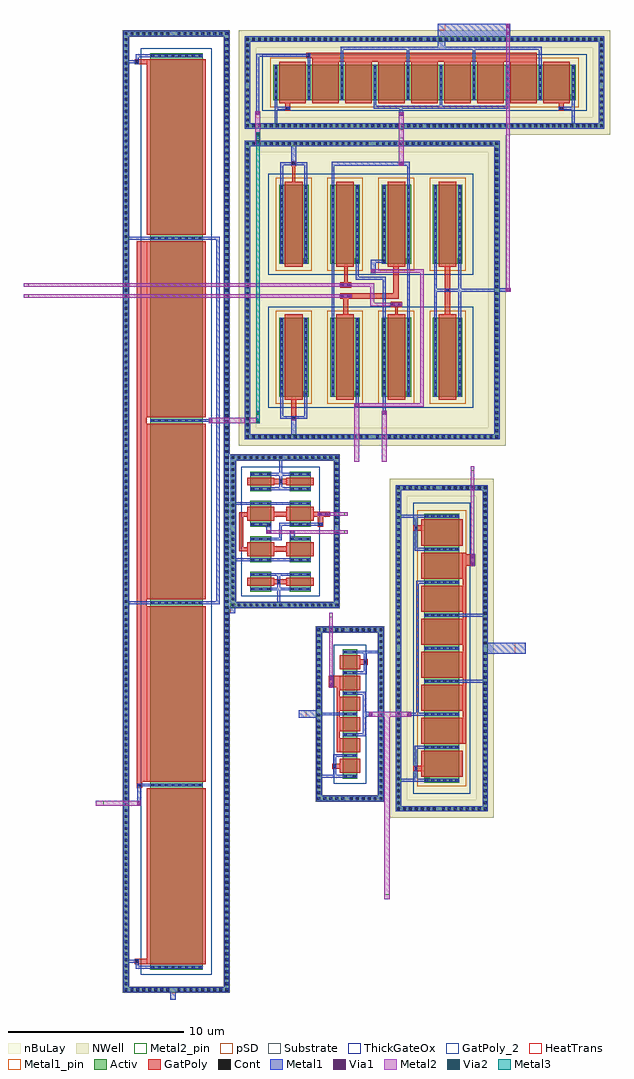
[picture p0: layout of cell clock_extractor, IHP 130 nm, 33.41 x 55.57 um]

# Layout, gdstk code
from math import pi, radians
import gdstk
lib = gdstk.Library(unit=1e-6, precision=5e-09)
def R(c, l, rs):  # rectangles x0, y0, x1, y1
    for r in rs: c.add(gdstk.rectangle(r[:2], r[2:], *l))
def A(c, l, x, y, w, h, nx, ny, dx, dy):  # array of equal rectangles
    R(c, l, [(x+i*dx, y+j*dy, x+i*dx+w, y+j*dy+h) for i in range(nx) for j in range(ny)])
def P(c, l, *ps):  # polygons
    for p in ps: c.add(gdstk.Polygon(p, *l))
Activ = (1, 0)
GatPoly = (5, 0)
GatPoly_2 = (5, 2)
Cont = (6, 0)
Metal1 = (8, 0)
Metal1_pin = (8, 2)
Metal2 = (10, 0)
Metal2_pin = (10, 2)
pSD = (14, 0)
Via1 = (19, 0)
Via2 = (29, 0)
Metal3 = (30, 0)
NWell = (31, 0)
nBuLay = (32, 0)
Substrate = (40, 0)
ThickGateOx = (44, 0)
HeatTrans = (51, 0)

via_stack_5 = lib.new_cell('via_stack$5')
R(via_stack_5, GatPoly, [(-0.15,-0.15,0.15,0.15)])
R(via_stack_5, Cont, [(-0.08,-0.08,0.08,0.08)])
R(via_stack_5, Metal1, [(-0.13,-0.08,0.13,0.08)])

nmoshv = lib.new_cell('nmosHV')
A(nmoshv, Activ, 0, 0, 0.3, 0.3, 6, 1, 10.38, 0)
R(nmoshv, Activ, [(-1.27,-1.22,-0.97,4.22), (53.17,-1.22,53.47,4.22), (0,0,52.2,3), (-1.27,4.22,53.47,4.52)])
P(nmoshv, Activ, [(-1.27,-1.52),(-1.27,4.22),(-0.97,4.22),(-0.97,-1.22),(53.17,-1.22),(53.17,4.22),(-1.27,4.22),(-1.27,4.52),(53.47,4.52),(53.47,-1.52)])
A(nmoshv, GatPoly, 0.34, -0.18, 10, 3.36, 5, 1, 10.38, 0)
R(nmoshv, GatPoly_2, [(0.34,-0.18,10.34,3.18)])
A(nmoshv, Cont, -1.2, -1.45, 0.16, 0.16, 80, 2, 0.34, 5.74)
A(nmoshv, Cont, 26.04, -1.45, 0.16, 0.16, 81, 2, 0.34, 5.74)
A(nmoshv, Cont, -1.2, -1.11, 0.16, 0.16, 1, 7, 0, 0.34)
A(nmoshv, Cont, 53.24, -1.11, 0.16, 0.16, 1, 7, 0, 0.34)
A(nmoshv, Cont, 0.07, 0.07, 0.16, 0.16, 6, 7, 10.38, 0.385)
A(nmoshv, Cont, -1.2, 1.57, 0.16, 0.16, 1, 8, 0, 0.34)
A(nmoshv, Cont, 53.24, 1.57, 0.16, 0.16, 1, 8, 0, 0.34)
A(nmoshv, Cont, 0.07, 2.77, 0.16, 0.16, 6, 1, 10.38, 0)
A(nmoshv, Metal1, 0.07, 0, 0.16, 3, 6, 1, 10.38, 0)
R(nmoshv, Metal1, [(-1.27,-1.52,53.47,-1.22), (-1.27,-1.22,-0.97,4.22), (53.17,-1.22,53.47,4.22), (-1.27,4.22,53.47,4.52)])
R(nmoshv, Metal1_pin, [(0.07,0,0.23,3), (10.45,0,10.61,3)])
R(nmoshv, pSD, [(-1.3,-1.19,-0.94,4.19), (53.14,-1.19,53.5,4.19), (-1.3,4.19,53.5,4.55)])
P(nmoshv, pSD, [(-1.3,-1.55),(-1.3,4.19),(-0.94,4.19),(-0.94,-1.19),(53.14,-1.19),(53.14,4.19),(-1.3,4.19),(-1.3,4.55),(53.5,4.55),(53.5,-1.55)])
R(nmoshv, Substrate, [(-1.3,-1.19,-0.94,4.19), (53.14,-1.19,53.5,4.19), (-1.3,4.19,53.5,4.55)])
P(nmoshv, Substrate, [(-1.3,-1.55),(-1.3,4.19),(-0.94,4.19),(-0.94,-1.19),(53.14,-1.19),(53.14,4.19),(-1.3,4.19),(-1.3,4.55),(53.5,4.55),(53.5,-1.55)])
R(nmoshv, ThickGateOx, [(-0.27,-0.52,52.47,3.52)])
A(nmoshv, HeatTrans, 0.34, -0.18, 10, 3.36, 5, 1, 10.38, 0)
nmoshv.add(gdstk.Label('nmosHV', (5.34,1.5), layer=63, texttype=0))
nmoshv.add(gdstk.Label('sub!', (26.1,-1.37), layer=63, texttype=0))
nmoshv.add(gdstk.Label('nmosHV', (5.34,1.5), layer=51, texttype=0))
nmoshv.add(gdstk.Label('nmosHV', (15.72,1.5), layer=51, texttype=0))
nmoshv.add(gdstk.Label('nmosHV', (26.1,1.5), layer=51, texttype=0))
nmoshv.add(gdstk.Label('nmosHV', (36.48,1.5), layer=51, texttype=0))
nmoshv.add(gdstk.Label('nmosHV', (46.86,1.5), layer=51, texttype=0))

via_stack = lib.new_cell('via_stack')
R(via_stack, Metal1, [(-0.145,-0.105,0.145,0.105)])
R(via_stack, Metal2, [(-0.145,-0.1,0.145,0.1)])
R(via_stack, Via1, [(-0.095,-0.095,0.095,0.095)])

current_mirror2 = lib.new_cell('current_mirror2')
R(current_mirror2, GatPoly, [(-11.475,-0.645,-11.175,0.05), (39.745,-0.645,40.045,0.23), (-1.435,-0.525,-1.095,-0.225), (-1.095,-0.525,29.665,0.05)])
R(current_mirror2, Metal1, [(-11.405,-1.29,-11.245,-0.575), (9.015,-1.29,9.175,0.46), (29.775,-1.29,29.935,0.23), (39.815,-1.29,39.975,-0.575), (-11.745,-0.575,-11.195,-0.415), (-11.745,-0.575,-11.585,0.23), (39.765,-0.575,40.315,-0.415), (40.155,-0.575,40.315,0.46), (-1.365,-0.505,-1.205,0.23), (-2.47,-0.5,-1.205,-0.29), (-13.495,1.37,-12.785,1.7), (9.015,3,9.175,4.205), (19.395,3,19.555,3.77), (29.775,3,29.935,4.205), (9.015,4,29.935,4.205)])
R(current_mirror2, Metal1_pin, [(-13.495,1.37,-13.115,1.7)])
R(current_mirror2, Metal2, [(-2.47,-2.85,-2.18,-0.295), (19.325,3.565,19.615,5.615)])
R(current_mirror2, Metal2_pin, [(19.325,5.39,19.615,5.615)])
P(current_mirror2, Metal2_pin, [(-2.47,-2.85),(-2.47,-2.425),(-2.47,-2.395),(-2.37,-2.395),(-2.18,-2.395),(-2.18,-2.85),(-2.345,-2.85)])
current_mirror2.add(gdstk.Reference(via_stack_5, (39.895,-0.495)))
current_mirror2.add(gdstk.Reference(nmoshv, (-11.815,0.23)))
current_mirror2.add(gdstk.Reference(via_stack_5, (-11.325,-0.495), rotation=pi, x_reflection=True))
current_mirror2.add(gdstk.Reference(via_stack_5, (-1.285,-0.375), rotation=3*pi/2))
current_mirror2.add(gdstk.Reference(via_stack, (19.47,3.665), rotation=pi))
current_mirror2.add(gdstk.Reference(via_stack, (-2.325,-0.395)))
current_mirror2.add(gdstk.Label('VSS_M31_M32', (-13.595,1.795), layer=8, texttype=0))
current_mirror2.add(gdstk.Label('drain_M32', (-2.455,-2.665), layer=10, texttype=0))
current_mirror2.add(gdstk.Label('drain_M31', (19.62,5.615), layer=10, texttype=0))

nmoshv_4 = lib.new_cell('nmosHV$4')
R(nmoshv_4, Activ, [(0,0,0.3,0.3), (0,0,1.48,1.2), (1.18,0,1.48,0.3)])
R(nmoshv_4, GatPoly, [(0.34,-0.18,1.14,1.38)])
R(nmoshv_4, GatPoly_2, [(0.34,-0.18,1.14,1.38)])
A(nmoshv_4, Cont, 0.07, 0.07, 0.16, 0.16, 1, 3, 0, 0.45)
A(nmoshv_4, Cont, 1.25, 0.07, 0.16, 0.16, 1, 3, 0, 0.45)
R(nmoshv_4, Metal1, [(0.07,0,0.23,1.2), (1.25,0,1.41,1.2)])
R(nmoshv_4, Metal1_pin, [(0.07,0,0.23,1.2), (1.25,0,1.41,1.2)])
R(nmoshv_4, ThickGateOx, [(-0.27,-0.52,1.75,1.72)])
R(nmoshv_4, HeatTrans, [(0.34,-0.18,1.14,1.38)])
nmoshv_4.add(gdstk.Label('nmosHV', (0.74,0.6), layer=63, texttype=0))
nmoshv_4.add(gdstk.Label('nmosHV', (0.74,0.6), layer=51, texttype=0))

nmoshv_6 = lib.new_cell('nmosHV$6')
R(nmoshv_6, Activ, [(0,0,0.3,0.3), (0,0,1.13,1.2), (0.83,0,1.13,0.3)])
R(nmoshv_6, GatPoly, [(0.34,-0.18,0.79,1.38)])
R(nmoshv_6, GatPoly_2, [(0.34,-0.18,0.79,1.38)])
A(nmoshv_6, Cont, 0.07, 0.07, 0.16, 0.16, 1, 3, 0, 0.45)
A(nmoshv_6, Cont, 0.9, 0.07, 0.16, 0.16, 1, 3, 0, 0.45)
R(nmoshv_6, Metal1, [(0.07,0,0.23,1.2), (0.9,0,1.06,1.2)])
R(nmoshv_6, Metal1_pin, [(0.07,0,0.23,1.2), (0.9,0,1.06,1.2)])
R(nmoshv_6, ThickGateOx, [(-0.27,-0.52,1.4,1.72)])
R(nmoshv_6, HeatTrans, [(0.34,-0.18,0.79,1.38)])
nmoshv_6.add(gdstk.Label('nmosHV', (0.565,0.6), layer=63, texttype=0))
nmoshv_6.add(gdstk.Label('nmosHV', (0.565,0.6), layer=51, texttype=0))

via_stack_3 = lib.new_cell('via_stack$3')
R(via_stack_3, GatPoly, [(-0.32,-0.15,0.32,0.15)])
R(via_stack_3, Cont, [(-0.25,-0.08,-0.09,0.08), (0.09,-0.08,0.25,0.08)])
R(via_stack_3, Metal1, [(-0.35,-0.105,0.35,0.105)])
R(via_stack_3, Metal2, [(-0.35,-0.1,0.35,0.1)])
R(via_stack_3, Via1, [(-0.3,-0.095,-0.11,0.095), (0.11,-0.095,0.3,0.095)])

guard_ring_6 = lib.new_cell('guard_ring$6')
R(guard_ring_6, Activ, [(-4.35,-2.8,-4.05,2.8), (4.05,-2.8,4.35,2.8), (-4.35,2.8,4.35,3.1)])
P(guard_ring_6, Activ, [(-4.35,-3.1),(-4.35,2.8),(-4.05,2.8),(-4.05,-2.8),(4.05,-2.8),(4.05,2.8),(-4.35,2.8),(-4.35,3.1),(4.35,3.1),(4.35,-3.1)])
A(guard_ring_6, Cont, -4.28, -3.03, 0.16, 0.16, 12, 2, 0.34, 5.9)
A(guard_ring_6, Cont, 0.04, -3.03, 0.16, 0.16, 13, 2, 0.34, 5.9)
A(guard_ring_6, Cont, -4.28, -2.69, 0.16, 0.16, 1, 8, 0, 0.34)
A(guard_ring_6, Cont, 4.12, -2.69, 0.16, 0.16, 1, 8, 0, 0.34)
A(guard_ring_6, Cont, -4.28, 0.15, 0.16, 0.16, 1, 8, 0, 0.34)
A(guard_ring_6, Cont, 4.12, 0.15, 0.16, 0.16, 1, 8, 0, 0.34)
R(guard_ring_6, Metal1, [(-4.35,-3.1,4.35,-2.8), (-4.35,-2.8,-4.05,2.8), (4.05,-2.8,4.35,2.8), (-4.35,2.8,4.35,3.1)])
R(guard_ring_6, pSD, [(-4.38,-2.77,-4.02,2.77), (4.02,-2.77,4.38,2.77), (-4.38,2.77,4.38,3.13)])
P(guard_ring_6, pSD, [(-4.38,-3.13),(-4.38,2.77),(-4.02,2.77),(-4.02,-2.77),(4.02,-2.77),(4.02,2.77),(-4.38,2.77),(-4.38,3.13),(4.38,3.13),(4.38,-3.13)])
R(guard_ring_6, Substrate, [(-4.38,-2.77,-4.02,2.77), (4.02,-2.77,4.38,2.77), (-4.38,2.77,4.38,3.13)])
P(guard_ring_6, Substrate, [(-4.38,-3.13),(-4.38,2.77),(-4.02,2.77),(-4.02,-2.77),(4.02,-2.77),(4.02,2.77),(-4.38,2.77),(-4.38,3.13),(4.38,3.13),(4.38,-3.13)])
guard_ring_6.add(gdstk.Label('sub!', (0,-2.95), layer=63, texttype=0))

current_mirror_loadn = lib.new_cell('current_mirror_loadN')
R(current_mirror_loadn, GatPoly, [(-0.515,-1.78,-0.26,-1.165), (-0.515,-1.78,1.705,-1.565), (1.465,-1.78,1.705,-1.165), (-2.43,0.035,-2.13,1.075), (-0.565,0.035,-0.265,1.075), (1.42,0.035,1.72,1.075), (3.285,0.035,3.585,1.075), (-0.565,2.455,-0.265,3.35)])
P(current_mirror_loadn, GatPoly, [(-0.565,2.68),(-0.565,2.98),(0.31,2.98),(0.31,2.68),(0.27,2.68)])
R(current_mirror_loadn, Metal1, [(-1.1,-2.29,-0.94,-0.935), (2.1,-2.29,2.26,-0.935), (4.91,-2.29,5.235,-2.03), (0.08,-0.255,0.7,0.035), (-1.94,-0.205,-1.78,1.305), (-2.77,-0.195,-2.61,1.305), (-1.1,-0.195,-0.94,1.305), (0.92,-0.195,1.08,0.64), (2.1,-0.195,2.26,1.305), (2.94,-0.195,3.1,1.305), (3.77,-0.195,3.93,1.305), (2.94,0.385,3.585,0.545), (3.305,0.385,4.91,0.545), (0.08,0.475,1.08,0.64), (0.08,0.475,0.24,1.305), (-3.79,0.485,-1.78,0.645), (0.49,1.075,1.08,1.365), (0.08,2.275,0.24,2.7)])
R(current_mirror_loadn, Metal1_pin, [(4.65,-2.29,5.235,-2.03)])
R(current_mirror_loadn, Metal2, [(0.495,-0.255,0.695,1.285), (0.495,0.995,0.695,4.38), (-0.515,2.68,-0.315,4.395)])
R(current_mirror_loadn, Metal2_pin, [(-0.515,4.19,-0.315,4.395)])
P(current_mirror_loadn, Metal2_pin, [(0.495,4.195),(0.495,4.38),(0.695,4.38),(0.695,4.195),(0.645,4.195)])
current_mirror_loadn.add(gdstk.Reference(nmoshv_4, (0.85,1.075)))
current_mirror_loadn.add(gdstk.Reference(nmoshv_4, (-1.17,1.075)))
current_mirror_loadn.add(gdstk.Reference(nmoshv_6, (2.87,1.075)))
current_mirror_loadn.add(gdstk.Reference(nmoshv_6, (2.87,-1.165)))
current_mirror_loadn.add(gdstk.Reference(nmoshv_6, (-2.84,1.075)))
current_mirror_loadn.add(gdstk.Reference(nmoshv_6, (-2.84,-1.165)))
current_mirror_loadn.add(gdstk.Reference(nmoshv_4, (-1.17,-1.165)))
current_mirror_loadn.add(gdstk.Reference(via_stack, (0.595,-0.11), rotation=3*pi/2))
current_mirror_loadn.add(gdstk.Reference(nmoshv_4, (0.85,-1.165)))
current_mirror_loadn.add(gdstk.Reference(via_stack_5, (3.435,0.465)))
current_mirror_loadn.add(gdstk.Reference(via_stack_5, (-2.28,0.565)))
current_mirror_loadn.add(gdstk.Reference(via_stack, (0.595,1.22), rotation=3*pi/2))
current_mirror_loadn.add(gdstk.Reference(via_stack_5, (0.16,2.83), rotation=3*pi/2))
current_mirror_loadn.add(gdstk.Reference(via_stack_3, (-0.415,3.03), rotation=3*pi/2))
current_mirror_loadn.add(gdstk.Reference(guard_ring_6, (0.56,0.81)))
current_mirror_loadn.add(gdstk.Label('VSS', (5.265,-2.11), layer=8, texttype=0))
current_mirror_loadn.add(gdstk.Label('drain_M11', (-0.285,4.385), layer=10, texttype=0))
current_mirror_loadn.add(gdstk.Label('drain_M10', (0.72,4.36), layer=10, texttype=0))

pmoshv_5 = lib.new_cell('pmosHV$5')
A(pmoshv_5, Activ, 0, 0, 0.3, 0.3, 9, 1, 1.88, 0)
R(pmoshv_5, Activ, [(-1.62,-1.32,-1.32,3.32), (16.66,-1.32,16.96,3.32), (0,0,15.34,2), (-1.62,3.32,16.96,3.62)])
P(pmoshv_5, Activ, [(-1.62,-1.62),(-1.62,3.32),(-1.32,3.32),(-1.32,-1.32),(16.66,-1.32),(16.66,3.32),(-1.62,3.32),(-1.62,3.62),(16.96,3.62),(16.96,-1.62)])
A(pmoshv_5, GatPoly, 0.34, -0.18, 1.5, 2.36, 8, 1, 1.88, 0)
R(pmoshv_5, GatPoly_2, [(0.34,-0.18,1.84,2.18)])
A(pmoshv_5, Cont, -1.55, -1.55, 0.16, 0.16, 27, 2, 0.34, 4.94)
A(pmoshv_5, Cont, 7.89, -1.55, 0.16, 0.16, 27, 2, 0.34, 4.94)
A(pmoshv_5, Cont, -1.55, -1.21, 0.16, 0.16, 1, 6, 0, 0.34)
A(pmoshv_5, Cont, 16.73, -1.21, 0.16, 0.16, 1, 6, 0, 0.34)
A(pmoshv_5, Cont, 0.07, 0.07, 0.16, 0.16, 9, 6, 1.88, 0.34)
A(pmoshv_5, Cont, -1.55, 1.01, 0.16, 0.16, 1, 7, 0, 0.34)
A(pmoshv_5, Cont, 16.73, 1.01, 0.16, 0.16, 1, 7, 0, 0.34)
A(pmoshv_5, Metal1, 0.07, 0, 0.16, 2, 9, 1, 1.88, 0)
R(pmoshv_5, Metal1, [(-1.62,-1.62,16.96,-1.32), (-1.62,-1.32,-1.32,3.32), (16.66,-1.32,16.96,3.32), (-1.62,3.32,16.96,3.62)])
R(pmoshv_5, Metal1_pin, [(0.07,0,0.23,2), (1.95,0,2.11,2)])
R(pmoshv_5, pSD, [(-0.18,-0.4,15.52,2.4)])
R(pmoshv_5, NWell, [(-1.97,-1.97,17.31,3.97), (-0.62,-0.62,15.96,2.62)])
R(pmoshv_5, nBuLay, [(-1.97,-0.97,-0.97,2.97), (16.31,-0.97,17.31,2.97), (-1.97,2.97,17.31,3.97)])
P(pmoshv_5, nBuLay, [(-1.97,-1.97),(-1.97,2.97),(-0.97,2.97),(-0.97,-0.97),(16.31,-0.97),(16.31,2.97),(-1.97,2.97),(-1.97,3.97),(17.31,3.97),(17.31,-1.97)])
R(pmoshv_5, Substrate, [(15.04,0,15.34,0.3)])
R(pmoshv_5, ThickGateOx, [(-0.62,-0.62,15.96,2.62)])
A(pmoshv_5, HeatTrans, 0.34, -0.18, 1.5, 2.36, 8, 1, 1.88, 0)
pmoshv_5.add(gdstk.Label('pmosHV', (1.09,1), layer=63, texttype=0))
pmoshv_5.add(gdstk.Label('well', (7.67,-1.47), layer=63, texttype=0))
pmoshv_5.add(gdstk.Label('pmos', (1.09,1), layer=51, texttype=0))
pmoshv_5.add(gdstk.Label('pmos', (2.97,1), layer=51, texttype=0))
pmoshv_5.add(gdstk.Label('pmos', (4.85,1), layer=51, texttype=0))
pmoshv_5.add(gdstk.Label('pmos', (6.73,1), layer=51, texttype=0))
pmoshv_5.add(gdstk.Label('pmos', (8.61,1), layer=51, texttype=0))
pmoshv_5.add(gdstk.Label('pmos', (10.49,1), layer=51, texttype=0))
pmoshv_5.add(gdstk.Label('pmos', (12.37,1), layer=51, texttype=0))
pmoshv_5.add(gdstk.Label('pmos', (14.25,1), layer=51, texttype=0))

via_stack_1 = lib.new_cell('via_stack$1')
R(via_stack_1, GatPoly, [(-0.15,-0.32,0.15,0.32)])
R(via_stack_1, Cont, [(-0.08,-0.25,0.08,-0.09), (-0.08,0.09,0.08,0.25)])
R(via_stack_1, Metal1, [(-0.105,-0.35,0.105,0.35)])
R(via_stack_1, Metal2, [(-0.1,-0.35,0.1,0.35)])
R(via_stack_1, Via1, [(-0.095,-0.3,0.095,-0.11), (-0.095,0.11,0.095,0.3)])

nmoshv_9 = lib.new_cell('nmosHV$9')
A(nmoshv_9, Activ, 0, 0, 0.3, 0.3, 7, 1, 1.18, 0)
R(nmoshv_9, Activ, [(-1.27,-1.22,-0.97,2.02), (8.35,-1.22,8.65,2.02), (0,0,7.38,0.8), (-1.27,2.02,8.65,2.32)])
P(nmoshv_9, Activ, [(-1.27,-1.52),(-1.27,2.02),(-0.97,2.02),(-0.97,-1.22),(8.35,-1.22),(8.35,2.02),(-1.27,2.02),(-1.27,2.32),(8.65,2.32),(8.65,-1.52)])
A(nmoshv_9, GatPoly, 0.34, -0.18, 0.8, 1.16, 6, 1, 1.18, 0)
R(nmoshv_9, GatPoly_2, [(0.34,-0.18,1.14,0.98)])
A(nmoshv_9, Cont, -1.2, -1.45, 0.16, 0.16, 14, 2, 0.34, 3.54)
A(nmoshv_9, Cont, 3.66, -1.45, 0.16, 0.16, 15, 2, 0.34, 3.54)
A(nmoshv_9, Cont, -1.2, -1.11, 0.16, 0.16, 1, 4, 0, 0.34)
A(nmoshv_9, Cont, 8.42, -1.11, 0.16, 0.16, 1, 4, 0, 0.34)
A(nmoshv_9, Cont, 0.07, 0.07, 0.16, 0.16, 7, 2, 1.18, 0.5)
A(nmoshv_9, Cont, -1.2, 0.39, 0.16, 0.16, 1, 5, 0, 0.34)
A(nmoshv_9, Cont, 8.42, 0.39, 0.16, 0.16, 1, 5, 0, 0.34)
A(nmoshv_9, Metal1, 0.07, 0, 0.16, 0.8, 7, 1, 1.18, 0)
R(nmoshv_9, Metal1, [(-1.27,-1.52,8.65,-1.22), (-1.27,-1.22,-0.97,2.02), (8.35,-1.22,8.65,2.02), (-1.27,2.02,8.65,2.32)])
R(nmoshv_9, Metal1_pin, [(0.07,0,0.23,0.8), (1.25,0,1.41,0.8)])
R(nmoshv_9, pSD, [(-1.3,-1.19,-0.94,1.99), (8.32,-1.19,8.68,1.99), (-1.3,1.99,8.68,2.35)])
P(nmoshv_9, pSD, [(-1.3,-1.55),(-1.3,1.99),(-0.94,1.99),(-0.94,-1.19),(8.32,-1.19),(8.32,1.99),(-1.3,1.99),(-1.3,2.35),(8.68,2.35),(8.68,-1.55)])
R(nmoshv_9, Substrate, [(-1.3,-1.19,-0.94,1.99), (8.32,-1.19,8.68,1.99), (-1.3,1.99,8.68,2.35)])
P(nmoshv_9, Substrate, [(-1.3,-1.55),(-1.3,1.99),(-0.94,1.99),(-0.94,-1.19),(8.32,-1.19),(8.32,1.99),(-1.3,1.99),(-1.3,2.35),(8.68,2.35),(8.68,-1.55)])
R(nmoshv_9, ThickGateOx, [(-0.27,-0.52,7.65,1.32)])
A(nmoshv_9, HeatTrans, 0.34, -0.18, 0.8, 1.16, 6, 1, 1.18, 0)
nmoshv_9.add(gdstk.Label('nmosHV', (0.74,0.4), layer=63, texttype=0))
nmoshv_9.add(gdstk.Label('sub!', (3.69,-1.37), layer=63, texttype=0))
nmoshv_9.add(gdstk.Label('nmosHV', (0.74,0.4), layer=51, texttype=0))
nmoshv_9.add(gdstk.Label('nmosHV', (1.92,0.4), layer=51, texttype=0))
nmoshv_9.add(gdstk.Label('nmosHV', (3.1,0.4), layer=51, texttype=0))
nmoshv_9.add(gdstk.Label('nmosHV', (4.28,0.4), layer=51, texttype=0))
nmoshv_9.add(gdstk.Label('nmosHV', (5.46,0.4), layer=51, texttype=0))
nmoshv_9.add(gdstk.Label('nmosHV', (6.64,0.4), layer=51, texttype=0))

c_2stage_ota = lib.new_cell('2stage_ota')
R(c_2stage_ota, GatPoly, [(8.87,-4.79,9.515,-3.97), (13.86,-4.59,14.16,-3.97), (8.87,-4.32,13.21,-4.15), (7.92,-3.17,8.22,-2.55), (0.295,0.04,0.595,0.66), (0.295,0.04,0.595,0.66), (13.985,0.04,14.285,0.66), (13.985,0.04,14.285,0.66), (1.84,2.84,12.74,3.06), (1.945,2.84,2.59,3.565)])
R(c_2stage_ota, Metal1, [(10.825,-6.5,11.26,-5.19), (10.96,-5.49,11.12,-3.74), (14.5,-5.49,14.66,-4.36), (13.32,-4.52,13.48,-3.74), (13.32,-4.52,14.66,-4.36), (14.5,-4.52,14.66,-3.74), (7.42,-3.4,7.58,-2.62), (8.6,-3.4,8.76,-2.62), (12.14,-3.4,12.3,-2.675), (9.78,-3.39,9.94,-2.675), (9.78,-2.835,12.3,-2.675), (10.905,-2.835,11.195,-2.31), (7.42,-2.78,8.76,-2.62), (7.42,-2.78,7.58,-1.65), (-0.31,-0.96,-0.15,0.27), (14.73,-0.96,14.89,0.27), (10.905,-0.295,11.195,-0.085), (10.97,-0.295,11.13,0.89), (-0.31,0.11,0.575,0.27), (-0.31,0.11,0.575,0.27), (-0.31,0.11,-0.15,0.89), (-0.31,0.11,-0.15,0.89), (0.315,0.11,1.73,0.27), (1.57,0.11,1.73,0.89), (12.85,0.11,13.01,0.89), (12.85,0.11,14.265,0.27), (14.005,0.11,14.89,0.27), (14.005,0.11,14.89,0.27), (14.73,0.11,14.89,0.89), (14.73,0.11,14.89,0.89), (3.45,0.2,3.61,0.89), (3.45,0.2,11.13,0.36), (10.97,0.2,11.13,0.89), (5.33,2.43,5.49,4.28), (9.09,2.43,9.25,4.28), (6.965,3.98,7.605,6.435)])
R(c_2stage_ota, Metal1_pin, [(10.825,-6.5,11.26,-6.055), (6.965,5.805,7.605,6.435)])
R(c_2stage_ota, Metal2, [(5.265,-4.74,9.495,-4.54), (10.905,-2.515,11.195,-1.31), (10.905,-1.62,21.575,-1.31), (10.905,-1.62,11.195,-0.09), (-3.075,3.315,2.615,3.515)])
R(c_2stage_ota, Metal2_pin, [(5.265,-4.74,5.525,-4.54), (21.285,-1.62,21.575,-1.31), (-3.075,3.315,-2.815,3.515)])
c_2stage_ota.add(gdstk.Reference(pmoshv_5, (-0.38,0.66)))
c_2stage_ota.add(gdstk.Reference(via_stack_5, (0.445,0.19), rotation=pi, x_reflection=True))
c_2stage_ota.add(gdstk.Reference(via_stack_5, (0.445,0.19), rotation=pi, x_reflection=True))
c_2stage_ota.add(gdstk.Reference(via_stack_5, (14.135,0.19)))
c_2stage_ota.add(gdstk.Reference(via_stack_5, (14.135,0.19)))
c_2stage_ota.add(gdstk.Reference(via_stack_1, (2.265,3.415), rotation=3*pi/2))
c_2stage_ota.add(gdstk.Reference(nmoshv_9, (7.35,-3.97)))
c_2stage_ota.add(gdstk.Reference(via_stack_1, (9.19,-4.64), rotation=pi/2, x_reflection=True))
c_2stage_ota.add(gdstk.Reference(via_stack_5, (8.07,-2.7), x_reflection=True))
c_2stage_ota.add(gdstk.Reference(via_stack_5, (14.01,-4.44), rotation=pi, x_reflection=True))
c_2stage_ota.add(gdstk.Reference(via_stack, (11.05,-2.415), x_reflection=True))
c_2stage_ota.add(gdstk.Reference(via_stack, (11.05,-0.19), rotation=pi))
c_2stage_ota.add(gdstk.Label('VSS', (11.235,-6.52), layer=8, texttype=0))
c_2stage_ota.add(gdstk.Label('VDD', (7.615,6.4), layer=8, texttype=0))
c_2stage_ota.add(gdstk.Label('gate_M12', (5.115,-4.98), layer=10, texttype=0))
c_2stage_ota.add(gdstk.Label('drain_M2_M12_outputOTA', (21.455,-1.3), layer=10, texttype=0))
c_2stage_ota.add(gdstk.Label('gate_M2', (-3.22,3.375), layer=10, texttype=0))

via_stack_2 = lib.new_cell('via_stack$2')
R(via_stack_2, Metal2, [(-0.1,-0.35,0.1,0.35)])
R(via_stack_2, Via2, [(-0.095,-0.3,0.095,-0.11), (-0.095,0.11,0.095,0.3)])
R(via_stack_2, Metal3, [(-0.1,-0.35,0.1,0.35)])

pmoshv = lib.new_cell('pmosHV')
A(pmoshv, Activ, 0, 0, 0.3, 0.3, 10, 1, 1.88, 0)
R(pmoshv, Activ, [(-1.62,-1.32,-1.32,3.32), (18.54,-1.32,18.84,3.32), (0,0,17.22,2), (-1.62,3.32,18.84,3.62)])
P(pmoshv, Activ, [(-1.62,-1.62),(-1.62,3.32),(-1.32,3.32),(-1.32,-1.32),(18.54,-1.32),(18.54,3.32),(-1.62,3.32),(-1.62,3.62),(18.84,3.62),(18.84,-1.62)])
A(pmoshv, GatPoly, 0.34, -0.18, 1.5, 2.36, 9, 1, 1.88, 0)
R(pmoshv, GatPoly_2, [(0.34,-0.18,1.84,2.18)])
A(pmoshv, Cont, -1.55, -1.55, 0.16, 0.16, 30, 2, 0.34, 4.94)
A(pmoshv, Cont, 8.75, -1.55, 0.16, 0.16, 30, 2, 0.34, 4.94)
A(pmoshv, Cont, -1.55, -1.21, 0.16, 0.16, 1, 6, 0, 0.34)
A(pmoshv, Cont, 18.61, -1.21, 0.16, 0.16, 1, 6, 0, 0.34)
A(pmoshv, Cont, 0.07, 0.07, 0.16, 0.16, 10, 6, 1.88, 0.34)
A(pmoshv, Cont, -1.55, 1.01, 0.16, 0.16, 1, 7, 0, 0.34)
A(pmoshv, Cont, 18.61, 1.01, 0.16, 0.16, 1, 7, 0, 0.34)
A(pmoshv, Metal1, 0.07, 0, 0.16, 2, 10, 1, 1.88, 0)
R(pmoshv, Metal1, [(-1.62,-1.62,18.84,-1.32), (-1.62,-1.32,-1.32,3.32), (18.54,-1.32,18.84,3.32), (-1.62,3.32,18.84,3.62)])
R(pmoshv, Metal1_pin, [(0.07,0,0.23,2), (1.95,0,2.11,2)])
R(pmoshv, pSD, [(-0.18,-0.4,17.4,2.4)])
R(pmoshv, NWell, [(-1.97,-1.97,19.19,3.97), (-0.62,-0.62,17.84,2.62)])
R(pmoshv, nBuLay, [(-1.97,-0.97,-0.97,2.97), (18.19,-0.97,19.19,2.97), (-1.97,2.97,19.19,3.97)])
P(pmoshv, nBuLay, [(-1.97,-1.97),(-1.97,2.97),(-0.97,2.97),(-0.97,-0.97),(18.19,-0.97),(18.19,2.97),(-1.97,2.97),(-1.97,3.97),(19.19,3.97),(19.19,-1.97)])
R(pmoshv, Substrate, [(16.92,0,17.22,0.3)])
R(pmoshv, ThickGateOx, [(-0.62,-0.62,17.84,2.62)])
A(pmoshv, HeatTrans, 0.34, -0.18, 1.5, 2.36, 9, 1, 1.88, 0)
pmoshv.add(gdstk.Label('pmosHV', (1.09,1), layer=63, texttype=0))
pmoshv.add(gdstk.Label('well', (8.61,-1.47), layer=63, texttype=0))
pmoshv.add(gdstk.Label('pmos', (1.09,1), layer=51, texttype=0))
pmoshv.add(gdstk.Label('pmos', (2.97,1), layer=51, texttype=0))
pmoshv.add(gdstk.Label('pmos', (4.85,1), layer=51, texttype=0))
pmoshv.add(gdstk.Label('pmos', (6.73,1), layer=51, texttype=0))
pmoshv.add(gdstk.Label('pmos', (8.61,1), layer=51, texttype=0))
pmoshv.add(gdstk.Label('pmos', (10.49,1), layer=51, texttype=0))
pmoshv.add(gdstk.Label('pmos', (12.37,1), layer=51, texttype=0))
pmoshv.add(gdstk.Label('pmos', (14.25,1), layer=51, texttype=0))
pmoshv.add(gdstk.Label('pmos', (16.13,1), layer=51, texttype=0))

current_mirror3 = lib.new_cell('current_mirror3')
R(current_mirror3, GatPoly, [(0.275,0.595,0.575,1.215), (0.275,0.595,0.575,1.215), (15.845,0.595,16.145,1.215), (15.845,0.595,16.145,1.215), (1.82,3.395,14.6,3.915), (1.48,3.615,2.02,3.915)])
A(current_mirror3, Metal1, 5.31, 0.725, 0.16, 0.72, 3, 1, 3.76, 0)
R(current_mirror3, Metal1, [(-0.33,-0.405,-0.17,0.825), (16.59,-0.405,16.75,0.825), (6.73,0.33,7.02,0.54), (6.795,0.33,6.955,0.885), (-1.43,0.37,-1.14,0.58), (-1.37,0.37,-1.21,3.845), (-0.33,0.665,0.555,0.825), (-0.33,0.665,0.555,0.825), (-0.33,0.665,-0.17,1.445), (-0.33,0.665,-0.17,1.445), (15.865,0.665,16.75,0.825), (15.865,0.665,16.75,0.825), (16.59,0.665,16.75,1.445), (16.59,0.665,16.75,1.445), (5.31,0.725,12.99,0.885), (10.95,2.98,11.11,4.25), (1.55,2.985,1.71,3.895), (3.43,2.985,3.59,4.25), (7.19,2.985,7.35,4.25), (14.71,2.985,14.87,4.25), (-1.37,3.685,1.71,3.845), (3.43,4.08,14.87,4.25), (8.95,4.08,9.4,5.575)])
R(current_mirror3, Metal1_pin, [(8.95,5.185,9.4,5.575)])
R(current_mirror3, Metal2, [(-1.43,-1.32,-1.14,0.575), (6.73,-0.97,7.02,0.535)])
R(current_mirror3, Metal2_pin, [(-1.43,-0.975,-1.14,-0.755), (6.73,-0.97,7.02,-0.755)])
current_mirror3.add(gdstk.Reference(pmoshv, (-0.4,1.215)))
current_mirror3.add(gdstk.Reference(via_stack, (6.875,0.435)))
current_mirror3.add(gdstk.Reference(via_stack_5, (15.995,0.745)))
current_mirror3.add(gdstk.Reference(via_stack_5, (15.995,0.745)))
current_mirror3.add(gdstk.Reference(via_stack_5, (0.425,0.745), rotation=pi, x_reflection=True))
current_mirror3.add(gdstk.Reference(via_stack_5, (0.425,0.745), rotation=pi, x_reflection=True))
current_mirror3.add(gdstk.Reference(via_stack_5, (1.63,3.765), rotation=3*pi/2))
current_mirror3.add(gdstk.Reference(via_stack, (-1.285,0.475)))
current_mirror3.add(gdstk.Label('VDD', (9.42,5.615), layer=8, texttype=0))
current_mirror3.add(gdstk.Label('drain_M4', (-1.185,-0.975), layer=10, texttype=0))
current_mirror3.add(gdstk.Label('drain_M1', (7.06,-0.865), layer=10, texttype=0))

pmoshv_2 = lib.new_cell('pmosHV$2')
R(pmoshv_2, Activ, [(0,0,0.3,0.3), (0,0,1.68,4.5), (1.38,0,1.68,0.3)])
R(pmoshv_2, GatPoly, [(0.34,-0.18,1.34,4.68)])
R(pmoshv_2, GatPoly_2, [(0.34,-0.18,1.34,4.68)])
A(pmoshv_2, Cont, 0.07, 0.07, 0.16, 0.16, 1, 13, 0, 0.35)
A(pmoshv_2, Cont, 1.45, 0.07, 0.16, 0.16, 1, 13, 0, 0.35)
R(pmoshv_2, Metal1, [(0.07,0,0.23,4.5), (1.45,0,1.61,4.5)])
R(pmoshv_2, Metal1_pin, [(0.07,0,0.23,4.5), (1.45,0,1.61,4.5)])
R(pmoshv_2, pSD, [(-0.18,-0.4,1.86,4.9)])
R(pmoshv_2, NWell, [(-0.62,-0.62,2.3,5.12)])
R(pmoshv_2, Substrate, [(1.38,0,1.68,0.3)])
R(pmoshv_2, ThickGateOx, [(-0.62,-0.62,2.3,5.12)])
R(pmoshv_2, HeatTrans, [(0.34,-0.18,1.34,4.68)])
pmoshv_2.add(gdstk.Label('pmosHV', (0.84,2.25), layer=63, texttype=0))
pmoshv_2.add(gdstk.Label('pmos', (0.84,2.25), layer=51, texttype=0))

guard_ring_5 = lib.new_cell('guard_ring$5')
R(guard_ring_5, Activ, [(-7.25,-8.2,-6.95,8.2), (6.95,-8.2,7.25,8.2), (-7.25,8.2,7.25,8.5)])
P(guard_ring_5, Activ, [(-7.25,-8.5),(-7.25,8.2),(-6.95,8.2),(-6.95,-8.2),(6.95,-8.2),(6.95,8.2),(-7.25,8.2),(-7.25,8.5),(7.25,8.5),(7.25,-8.5)])
A(guard_ring_5, Cont, -7.18, -8.43, 0.16, 0.16, 21, 2, 0.34, 16.7)
A(guard_ring_5, Cont, 0.22, -8.43, 0.16, 0.16, 21, 2, 0.34, 16.7)
A(guard_ring_5, Cont, -7.18, -8.09, 0.16, 0.16, 1, 24, 0, 0.34)
A(guard_ring_5, Cont, 7.02, -8.09, 0.16, 0.16, 1, 24, 0, 0.34)
A(guard_ring_5, Cont, -7.18, 0.11, 0.16, 0.16, 1, 24, 0, 0.34)
A(guard_ring_5, Cont, 7.02, 0.11, 0.16, 0.16, 1, 24, 0, 0.34)
R(guard_ring_5, Metal1, [(-7.25,-8.5,7.25,-8.2), (-7.25,-8.2,-6.95,8.2), (6.95,-8.2,7.25,8.2), (-7.25,8.2,7.25,8.5)])
R(guard_ring_5, NWell, [(-7.6,-8.85,7.6,8.85)])
R(guard_ring_5, nBuLay, [(-7.6,-7.85,-6.6,7.85), (6.6,-7.85,7.6,7.85), (-7.6,7.85,7.6,8.85)])
P(guard_ring_5, nBuLay, [(-7.6,-8.85),(-7.6,7.85),(-6.6,7.85),(-6.6,-7.85),(6.6,-7.85),(6.6,7.85),(-7.6,7.85),(-7.6,8.85),(7.6,8.85),(7.6,-8.85)])
guard_ring_5.add(gdstk.Label('well', (0,-8.35), layer=63, texttype=0))

via_stack_4 = lib.new_cell('via_stack$4')
R(via_stack_4, Metal1, [(-0.35,-0.105,0.35,0.105)])
R(via_stack_4, Metal2, [(-0.35,-0.1,0.35,0.1)])
R(via_stack_4, Via1, [(-0.3,-0.095,-0.11,0.095), (0.11,-0.095,0.3,0.095)])

iput_diff = lib.new_cell('iput_diff')
R(iput_diff, GatPoly, [(1.125,2.14,1.27,2.975), (-1.83,2.555,-1.53,3.76), (3.96,2.555,4.26,5.26), (0.87,2.975,1.51,3.275), (-2,3.46,1.345,3.76), (1.025,3.76,1.345,5.735), (-1.995,4.08,-1.355,4.38), (-1.78,4.38,-1.575,5.26), (-4.72,10.12,-4.565,10.98), (-4.79,10.98,-4.49,11.28)])
P(iput_diff, GatPoly, [(-4.79,-3.465),(-4.79,-1.83),(-4.535,-1.83),(-4.49,-1.83),(-4.49,-3.465)])
R(iput_diff, Metal1, [(-4.77,-4.56,-4.51,-3.235), (-5.41,-3.395,-5.25,-1.895), (-5.41,-3.395,-4.77,-3.235), (-4.51,-3.395,-3.87,-3.235), (-4.03,-3.395,-3.87,-1.895), (0.365,-3.08,0.655,-2.935), (0.43,-2.935,0.59,-1.895), (-1.19,-2.71,-0.9,-2.505), (-1.11,-2.5,-0.95,-1.895), (-2.49,2.145,-2.33,5.67), (0.43,2.145,0.59,4.715), (1.81,2.145,1.97,5.44), (3.35,2.145,3.51,4.02), (4.73,2.145,4.89,4.02), (6.775,3.835,7.715,4.045), (3.35,3.86,3.98,4.02), (3.35,3.86,3.51,5.67), (3.98,3.86,7.075,4.02), (4.73,3.86,4.89,5.67), (-1.11,4.535,-0.95,5.67), (-1.11,4.535,0.59,4.715), (-0.27,4.915,0.02,5.67), (-0.27,5.51,0.59,5.67), (-5.41,9.71,-5.25,11.21), (-4.03,9.71,-3.87,11.21), (-2.49,9.71,-2.33,11.24), (1.81,9.71,1.97,11.24), (-2.49,11.03,1.97,11.24), (-5.41,11.05,-4.51,11.21), (-4.77,11.05,-4.51,11.21), (-4.77,11.05,-3.87,11.21), (-4.77,11.05,-4.51,12.44)])
R(iput_diff, Metal2, [(-1.19,-5.82,-0.9,-5.53), (-1.19,-5.82,-0.9,-2.505), (0.365,-5.82,0.655,-2.94), (0.365,-5.82,0.655,-5.53), (-1.19,-2.705,2.77,-2.505), (2.57,-2.705,2.77,5.115), (-0.295,3.025,1.54,3.225), (-0.295,3.025,-0.06,4.33), (-20.02,3.51,-1.33,3.71), (7.47,3.84,7.67,19.12), (-20,4.13,-0.06,4.33), (-0.27,4.915,2.77,5.115), (1.325,11.035,1.615,13.11)])
R(iput_diff, Metal2_pin, [(-20,4.13,-19.72,4.33), (1.325,12.79,1.615,13.11)])
P(iput_diff, Metal2_pin, [(-20.02,3.51),(-20.02,3.58),(-20.02,3.71),(-19.725,3.71),(-19.725,3.51)])
iput_diff.add(gdstk.Reference(pmoshv_2, (-2.56,5.44)))
iput_diff.add(gdstk.Reference(pmoshv_2, (0.36,5.44)))
iput_diff.add(gdstk.Reference(pmoshv_2, (-2.56,-2.125)))
iput_diff.add(gdstk.Reference(pmoshv_2, (0.36,-2.125)))
iput_diff.add(gdstk.Reference(pmoshv_2, (3.28,5.44)))
iput_diff.add(gdstk.Reference(pmoshv_2, (-5.48,-2.125)))
iput_diff.add(gdstk.Reference(pmoshv_2, (-5.48,5.44)))
iput_diff.add(gdstk.Reference(pmoshv_2, (3.28,-2.125)))
iput_diff.add(gdstk.Reference(via_stack, (1.47,11.135)))
iput_diff.add(gdstk.Reference(via_stack_3, (-1.675,4.23)))
iput_diff.add(gdstk.Reference(via_stack_3, (1.19,3.125)))
iput_diff.add(gdstk.Reference(via_stack_3, (-1.68,3.61)))
iput_diff.add(gdstk.Reference(via_stack, (0.51,-3.04), rotation=pi))
iput_diff.add(gdstk.Reference(via_stack, (-0.125,5.015)))
iput_diff.add(gdstk.Reference(via_stack, (-1.045,-2.605), rotation=pi))
iput_diff.add(gdstk.Reference(guard_ring_5, (-0.175,3.94)))
iput_diff.add(gdstk.Reference(via_stack_5, (-4.64,11.13)))
iput_diff.add(gdstk.Reference(via_stack_5, (4.11,3.94)))
iput_diff.add(gdstk.Reference(via_stack_5, (-4.64,-3.315), rotation=pi))
iput_diff.add(gdstk.Reference(via_stack, (7.57,3.94)))
iput_diff.add(gdstk.Reference(via_stack_4, (7.57,18.77), rotation=3*pi/2))
iput_diff.add(gdstk.Label('source_M3_M5', (1.655,13.11), layer=10, texttype=0))
iput_diff.add(gdstk.Label('gate_M5', (-20.015,4.375), layer=10, texttype=0))
iput_diff.add(gdstk.Label('gate_M3', (-20.055,3.485), layer=10, texttype=0))
iput_diff.add(gdstk.Label('drain_M5', (0.695,-5.83), layer=10, texttype=0))
iput_diff.add(gdstk.Label('drain_M3', (-0.88,-5.815), layer=10, texttype=0))

clock_extractor = lib.new_cell('clock_extractor')
R(clock_extractor, Metal1, [(-24.07,-6.945,-24.01,-0.935), (-12.22,25.575,-8.09,26.315)])
R(clock_extractor, Metal2, [(-22.93,3.565,-22.355,3.855), (-14.44,19.115,-14.15,19.985)])
R(clock_extractor, Metal3, [(-22.555,3.565,-22.355,20.12)])
clock_extractor.add(gdstk.Reference(current_mirror2, (-28.82,-15.76), rotation=pi/2, x_reflection=True))
clock_extractor.add(gdstk.Reference(current_mirror_loadn, (-21.72,-2.035), rotation=3*pi/2))
clock_extractor.add(gdstk.Reference(c_2stage_ota, (-13.635,-1.965), rotation=3*pi/2))
clock_extractor.add(gdstk.Reference(via_stack_2, (-22.455,19.77), rotation=pi))
clock_extractor.add(gdstk.Reference(via_stack_2, (-22.455,3.915), rotation=pi))
clock_extractor.add(gdstk.Reference(current_mirror3, (-21.17,20.74)))
clock_extractor.add(gdstk.Reference(iput_diff, (-15.765,7.195)))

lib.write_gds('clock_extractor.gds')
